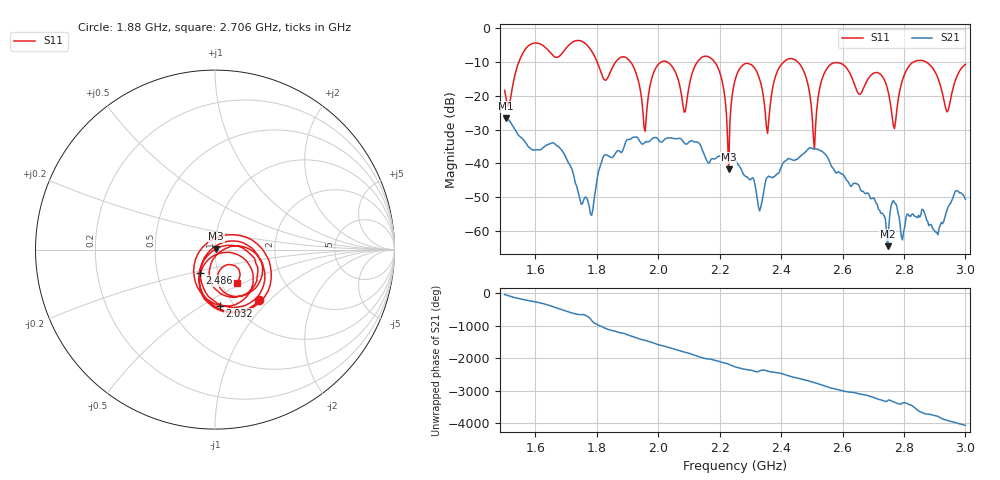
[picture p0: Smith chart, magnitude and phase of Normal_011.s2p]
# HZ S RI R 50
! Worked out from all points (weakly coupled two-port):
!   404 points, 1.5 GHz to 3 GHz, reference 50 ohm
!   highest |S21| = -26.67 dB at 1.504 GHz (marker M1); lowest = -64.5 dB at 2.747 GHz (marker M2)
!   lowest |S11| = -41.8 dB at 2.23 GHz (marker M3), VSWR 1.02, Z = 50.7 + j0.493 ohm
!   |S11| at or under -10 dB: 2.184 GHz to 2.408 GHz (224.6 MHz wide, 9.78 % of centre); 2.455 GHz to 2.831 GHz (376.4 MHz wide, 14.2 % of centre); 2.872 GHz to end of sweep (the widest 3 of 7)
!   S12 and S22 are empty: the file has one direction only
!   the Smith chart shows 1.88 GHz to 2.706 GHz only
!   S11 on the Smith chart (normalised r, x): 1.88 GHz: 1.32, -0.87; 2.032 GHz: 0.86, -0.60; 2.486 GHz: 0.82, -0.22; 2.706 GHz: 1.18, -0.46
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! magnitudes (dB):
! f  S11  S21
! 1.5 GHz  -18.4  -26.7
! 1.504 GHz  -20.1  -26.7
! 1.753 GHz  -4.0  -52.0
! 1.88 GHz  -8.5  -36.8
! 1.958 GHz  -30.5  -33.7
! 2.002 GHz  -10.5  -33.2
! 2.032 GHz  -10.1  -32.4
! 2.084 GHz  -24.8  -33.9
! 2.181 GHz  -9.7  -38.7
! 2.23 GHz  -41.8  -37.0
! 2.252 GHz  -14.8  -39.0
! 2.33 GHz  -15.0  -54.1
! 2.356 GHz  -31.1  -44.0
! 2.408 GHz  -10.0  -39.7
! 2.486 GHz  -16.2  -35.9
! 2.501 GHz  -26.1  -35.5
! 2.561 GHz  -10.7  -40.2
! 2.706 GHz  -13.2  -51.0
! 2.747 GHz  -18.1  -64.5
! 2.751 GHz  -19.6  -58.9
! 2.94 GHz  -24.8  -53.8
! 3 GHz  -10.7  -50.6
